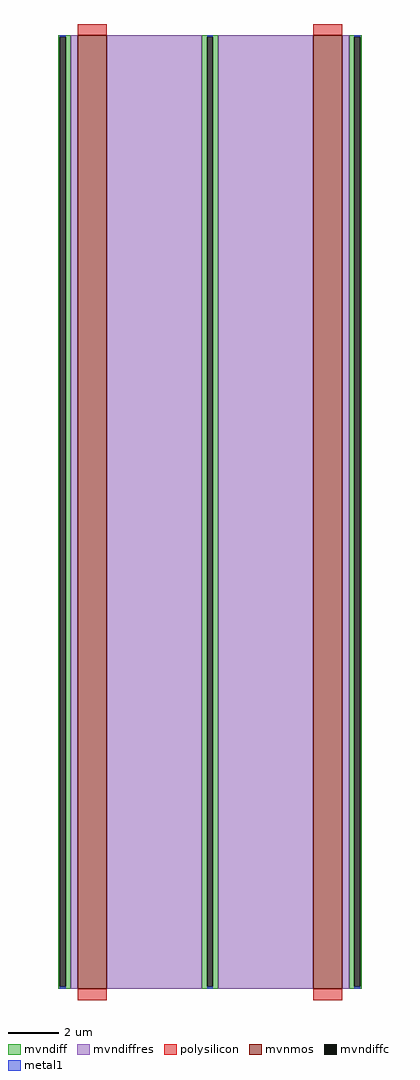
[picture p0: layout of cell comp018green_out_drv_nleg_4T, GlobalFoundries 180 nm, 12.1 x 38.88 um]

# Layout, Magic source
magic
tech gf180mcuD
magscale 1 10
<< mvnmos >>
rect 206 532 436 8132
rect 2080 532 2310 8132
<< mvndiff >>
rect 48 8117 150 8132
rect 48 551 61 8117
rect 107 551 150 8117
rect 48 532 150 551
rect 1192 8117 1324 8132
rect 1192 551 1235 8117
rect 1281 551 1324 8117
rect 1192 532 1324 551
rect 2366 8117 2468 8132
rect 2366 551 2409 8117
rect 2455 551 2468 8117
rect 2366 532 2468 551
<< mvndiffc >>
rect 61 551 107 8117
rect 1235 551 1281 8117
rect 2409 551 2455 8117
<< polysilicon >>
rect 206 8132 436 8220
rect 2080 8132 2310 8220
rect 206 444 436 532
rect 2080 444 2310 532
<< mvndiffres >>
rect 150 532 206 8132
rect 436 532 1192 8132
rect 1324 532 2080 8132
rect 2310 532 2366 8132
<< metal1 >>
rect 61 8117 107 8132
rect 61 532 107 551
rect 1235 8117 1281 8132
rect 1235 532 1281 551
rect 2409 8117 2455 8132
rect 2409 532 2455 551
<< end >>
